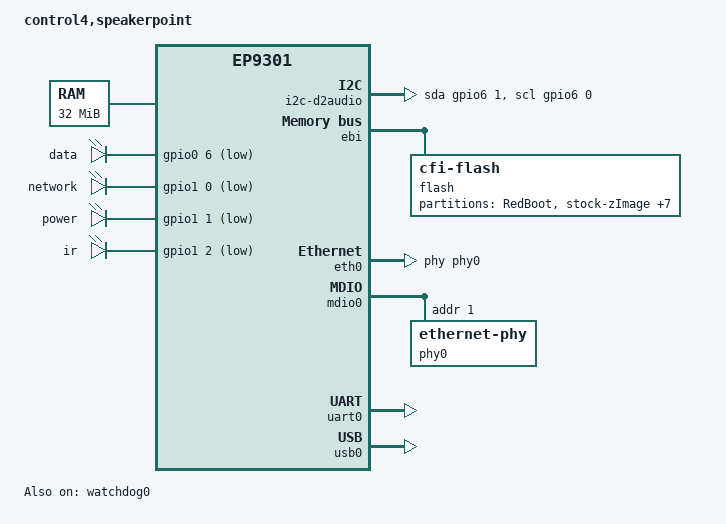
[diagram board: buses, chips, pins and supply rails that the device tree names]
// SPDX-License-Identifier: GPL-2.0-only OR BSD-2-Clause
/*
 * Device Tree for the Control4 SpeakerPoint (Cirrus EP9301 / EDB9301
 * reference design). See Research/Speakerpoint/Notes.txt for how this
 * hardware was identified (register dumps, /proc/mtd, dmesg, etc. from
 * the stock firmware).
 *
 * Boot-stable baseline: NOR flash, Ethernet, serial console,
 * EP93xx watchdog, GPIO Port D disabled.
 *
 * Audio: mainline dropped the EP93xx AC97 controller node along with
 * sound/soc/cirrus/ep93xx-ac97.c and simone.c in Linux 5.9 (no DT support
 * ever existed for it upstream), so the &soc override below re-adds it.
 * Values cross-checked against the last pre-removal sources:
 *  - reg: EP93XX_AAC_PHYS_BASE = EP93XX_APB_PHYS(0x80000) = 0x80880000,
 *    size 0xac (arch/arm/mach-ep93xx/soc.h, core.c ep93xx_ac97_resources[]).
 *    NB: 0x80820000 is the *I2S* controller, not AC97.
 *  - interrupts: old IRQ_EP93XX_AACINTR = 6, which falls in vic0's range
 *    (cf. dma0's IRQs 7-18 == old IRQ_EP93XX_DMAM2P0..DMAM2M1 under vic0).
 *  - dmas: port 2 == EP93XX_DMA_AAC1 (drivers/dma/ep93xx_dma.c), used for
 *    both tx and rx like the i2s node uses port 0 for both directions.
 *  - pinctrl: ep93xx.dtsi's syscon node still carries ac97_default_pins
 *    (function "ac97", group "ac97") even though the driver was removed;
 *    selecting it clears SYSCON_DEVCFG_I2SONAC97 so the shared pins route
 *    to AC97 instead of I2S.
 */
/dts-v1/;
#include "ep93xx.dtsi"

/ {
	#address-cells = <1>;
	#size-cells = <1>;
	compatible = "cirrus,edb9301", "cirrus,ep9301";
	model = "control4,speakerpoint";

	chosen {
	};

	memory@0 {
		device_type = "memory";
		reg = <0x0000000 0x800000>,
		      <0x1000000 0x800000>,
		      <0x4000000 0x800000>,
		      <0x5000000 0x800000>;
	};

	/*
	 * ASoC machine/card driver.  speakerpoint-card.ko (built into kernel)
	 * matches this compatible string and registers the sound card.
	 */
	sound {
		compatible = "control4,speakerpoint-audio";
	};

	/*
	 * D241051QR (D2Audio/Renesas D2-41051) amp config bus. EP93xx has no
	 * hardware I2C controller at all - confirmed via mach-ep93xx/core.c:
	 * every EP93xx board bit-bangs I2C over the same two fixed GPIO pins
	 * using the generic i2c-gpio driver (ep93xx_i2c_gpiod_table there
	 * maps Port G1->index0(SDA), Port G0->index1(SCL), per i2c-gpio.c's
	 * i2c_gpio_get_desc() index convention). gpio6 here is Port G: it's
	 * the only node with just data+dir registers (no interrupt support)
	 * whose position (7th of 8, 0-indexed 6) matches the alphabetical
	 * A-H port ordering against the datasheet's interrupt-capable ports
	 * (A, B, F only).
	 */
	i2c-d2audio {
		compatible = "i2c-gpio";
		sda-gpios = <&gpio6 1 (GPIO_ACTIVE_HIGH | GPIO_OPEN_DRAIN)>;
		scl-gpios = <&gpio6 0 (GPIO_ACTIVE_HIGH | GPIO_OPEN_DRAIN)>;
		#address-cells = <1>;
		#size-cells = <0>;
	};

	/*
	 * Front-panel LEDs. GPIO lines and active-low polarity recovered by
	 * disassembling the stock pdriver.o (Research/Speakerpoint/mtd4_jffs2.bin):
	 * p_driver_ioctl's "set X led on" handlers drive the GPIO bit LOW, "off"
	 * drives it HIGH -> LEDs are active-low. Mapping (LED name from the
	 * driver's own printk strings):
	 *   data    = Port A bit 6  (gpio0 line 6)
	 *   network = Port B bit 0  (gpio1 line 0)
	 *   power   = Port B bit 1  (gpio1 line 1)
	 *   ir      = Port B bit 2  (gpio1 line 2)
	 * Stock p_driver_init drives power LOW and the rest HIGH, i.e. at boot
	 * only power is lit - matching the desired "power on at boot" behaviour,
	 * expressed here via power's default-on trigger.
	 */
	leds {
		compatible = "gpio-leds";

		led-data {
			label = "data";
			gpios = <&gpio0 6 GPIO_ACTIVE_LOW>;
		};

		led-network {
			label = "network";
			gpios = <&gpio1 0 GPIO_ACTIVE_LOW>;
		};

		led-power {
			label = "power";
			gpios = <&gpio1 1 GPIO_ACTIVE_LOW>;
			/* Lit at boot without needing a trigger Kconfig symbol;
			 * the LED core applies this at registration. */
			default-state = "on";
		};

		led-ir {
			label = "ir";
			gpios = <&gpio1 2 GPIO_ACTIVE_LOW>;
		};
	};
};

&ebi {
	/*
	 * 16 MiB Intel JS28F128 NOR, 128 x 128 KiB blocks. Stock's own layout
	 * (RedBoot's FIS directory) is: RedBoot, zImage, cramfs, a 9 MiB
	 * jffs2.img holding Control4's /etc, packages and modules, 256 KiB
	 * unallocated, RedBoot config, FIS directory.
	 *
	 * openSpeakerPoint keeps stock's RedBoot, kernel, cramfs and FIS
	 * directory byte-for-byte (read-only here, so nothing can write them)
	 * and lives in jffs2.img + the unallocated space. RedBoot still loads
	 * it with `fis load jffs2.img` - the FIS directory is never edited - and
	 * the boot script execs the kernel at the start of that region.
	 *
	 * Stock's jffs2 contents are kept, compressed, in osp-restore, which is
	 * what lets the box put itself back to stock (osp-restore stock) with
	 * nothing but its own flash. Partition numbers matter: mtd0 is the
	 * whole chip (CONFIG_MTD_PARTITIONED_MASTER), so these are mtd1..mtd9
	 * and the rootfs is /dev/mtdblock5.
	 */
	flash@60000000 {
		compatible = "cfi-flash";
		reg = <0x60000000 0x1000000>;
		bank-width = <2>;

		partitions {
			compatible = "fixed-partitions";
			#address-cells = <1>;
			#size-cells = <1>;

			partition@0 {
				label = "RedBoot";
				reg = <0x000000 0x040000>;
				read-only;
			};
			partition@40000 {
				label = "stock-zImage";
				reg = <0x040000 0x100000>;
				read-only;
			};
			partition@140000 {
				label = "stock-cramfs";
				reg = <0x140000 0x540000>;
				read-only;
			};
			partition@680000 {
				label = "osp-kernel";		/* 16 blocks */
				reg = <0x680000 0x200000>;
			};
			partition@880000 {
				label = "osp-rootfs";		/* 36 blocks, squashfs */
				reg = <0x880000 0x480000>;
			};
			partition@d00000 {
				label = "osp-restore";		/* 18 blocks, stock payload */
				reg = <0xd00000 0x240000>;
			};
			partition@f40000 {
				label = "osp-data";		/* 4 blocks, jffs2 */
				reg = <0xf40000 0x080000>;
			};
			partition@fc0000 {
				/* Writable on purpose: install sets the boot script here,
				 * osp-restore writes stock's config block back. */
				label = "RedBoot-config";
				reg = <0xfc0000 0x020000>;
			};
			partition@fe0000 {
				label = "FIS-directory";
				reg = <0xfe0000 0x020000>;
				read-only;
			};
		};
	};
};

&eth0 {
	phy-handle = <&phy0>;
};

&mdio0 {
	phy0: ethernet-phy@1 {
		reg = <1>;
		device_type = "ethernet-phy";
	};
};

&gpio3 {
	status = "disabled";
};

&watchdog0 {
	status = "okay";
};

&uart0 {
	status = "okay";
};

/*
 * Front-panel USB ports (OHCI host, EP9301 datasheet ch.12). Mainline's
 * ep93xx.dtsi defines usb0 like ac97/watchdog0 above - present but
 * status = "disabled" - so it has to be explicitly enabled here or the
 * usb-ohci-hcd driver (built into the kernel) never gets a device to bind
 * to and no USB port ever appears, regardless of kernel config. This was
 * the actual cause of USB drives not being detected, not a userspace/mdev
 * problem.
 */
&usb0 {
	status = "okay";
};

&soc {
	ac97: ac97@80880000 {
		compatible = "cirrus,ep9301-ac97";
		reg = <0x80880000 0xac>;
		interrupt-parent = <&vic0>;
		interrupts = <6>;
		dmas = <&dma0 2 1>, <&dma0 2 2>;
		dma-names = "tx", "rx";
		pinctrl-names = "default";
		pinctrl-0 = <&ac97_default_pins>;
		#sound-dai-cells = <0>;
	};
};
